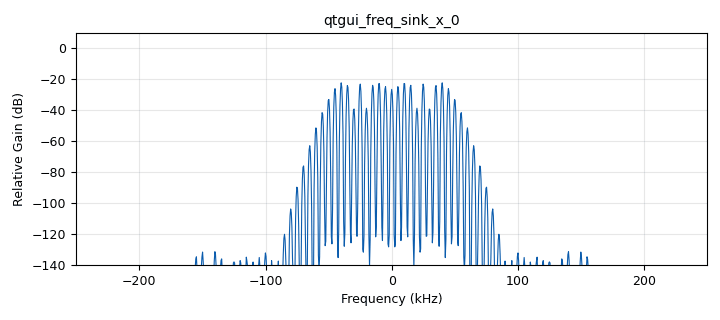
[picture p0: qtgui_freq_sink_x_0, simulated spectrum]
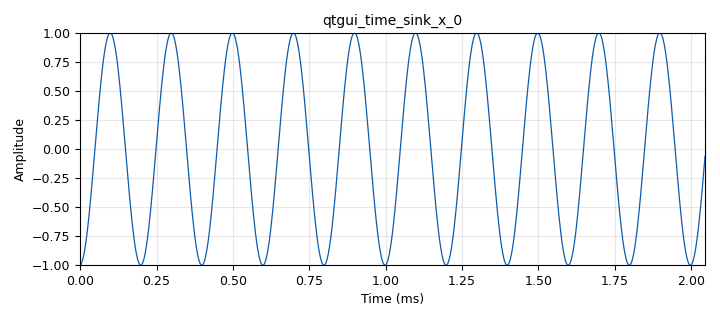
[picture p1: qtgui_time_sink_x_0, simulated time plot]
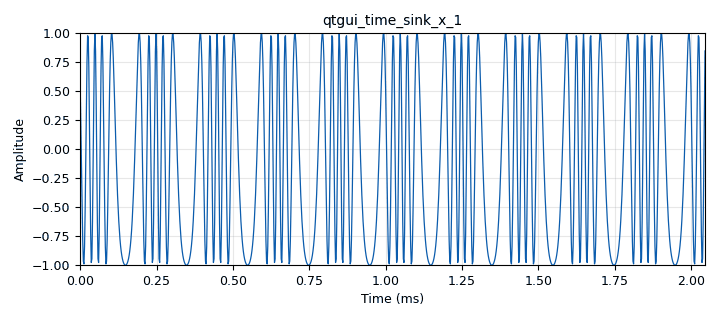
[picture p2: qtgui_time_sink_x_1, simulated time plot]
options:
  parameters:
    generate_options: qt_gui
    id: vestigial
    output_language: python
    title: Not titled yet
  states: {}

blocks:
- name: samp_rate
  id: variable
  parameters:
    value: '32000'
  states: {}
- name: analog_phase_modulator_fc_0
  id: analog_phase_modulator_fc
  parameters:
    sensitivity: '1'
  states: {}
- name: analog_sig_source_x_0
  id: analog_sig_source_x
  parameters:
    amp: '1'
    freq: '5000'
    offset: '0'
    phase: '0'
    samp_rate: '500000'
    type: float
    waveform: analog.GR_SIN_WAVE
  states: {}
- name: analog_sig_source_x_0_0
  id: analog_sig_source_x
  parameters:
    amp: '1'
    freq: '25000'
    offset: '0'
    phase: '0'
    samp_rate: '500000'
    type: complex
    waveform: analog.GR_SIN_WAVE
  states: {}
- name: blocks_complex_to_real_0
  id: blocks_complex_to_real
  parameters: {}
  states: {}
- name: blocks_multiply_const_vxx_0
  id: blocks_multiply_const_vxx
  parameters:
    const: '4'
    type: float
  states: {}
- name: blocks_multiply_xx_0
  id: blocks_multiply_xx
  parameters:
    type: complex
  states: {}
- name: qtgui_freq_sink_x_0
  id: qtgui_freq_sink_x
  parameters:
    bw: '500000'
    fc: '0'
    fftsize: '1024'
    type: float
  states: {}
- name: qtgui_time_sink_x_0
  id: qtgui_time_sink_x
  parameters:
    size: '1024'
    srate: '500000'
    type: float
  states: {}
- name: qtgui_time_sink_x_1
  id: qtgui_time_sink_x
  parameters:
    size: '1024'
    srate: '500000'
    type: float
  states: {}

connections:
- [analog_phase_modulator_fc_0, '0', blocks_multiply_xx_0, '1']
- [analog_sig_source_x_0, '0', blocks_multiply_const_vxx_0, '0']
- [analog_sig_source_x_0, '0', qtgui_time_sink_x_0, '0']
- [analog_sig_source_x_0_0, '0', blocks_multiply_xx_0, '0']
- [blocks_complex_to_real_0, '0', qtgui_freq_sink_x_0, '0']
- [blocks_complex_to_real_0, '0', qtgui_time_sink_x_1, '0']
- [blocks_multiply_const_vxx_0, '0', analog_phase_modulator_fc_0, '0']
- [blocks_multiply_xx_0, '0', blocks_complex_to_real_0, '0']

metadata:
  file_format: 1
  grc_version: 3.10.10.0
